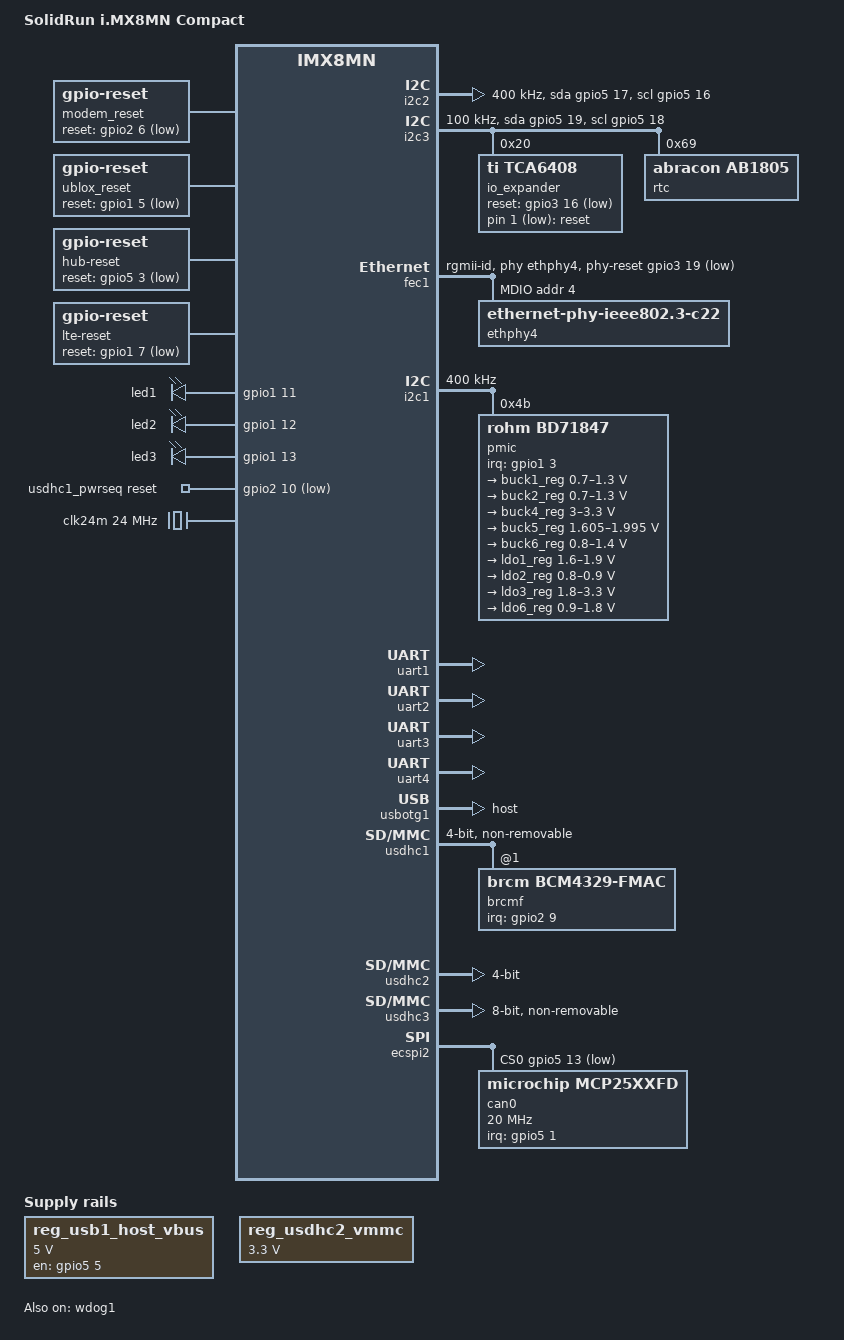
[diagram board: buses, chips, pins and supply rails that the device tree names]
// SPDX-License-Identifier: (GPL-2.0+ OR MIT)
/*
 * Copyright 2019 NXP
 */

/dts-v1/;

#include <dt-bindings/usb/pd.h>
#include <dt-bindings/input/input.h>
#include "imx8mn.dtsi"

/ {
	model = "SolidRun i.MX8MN Compact";
	compatible = "fsl,imx8mn-solidrun", "fsl,imx8mn";

	chosen {
		stdout-path = &uart2;
	};

        modem_reset: modem-reset {
                compatible = "gpio-reset";
                reset-gpios = <&gpio2 6 GPIO_ACTIVE_LOW>;
                reset-delay-us = <2000>;
                reset-post-delay-ms = <40>;
                #reset-cells = <0>;
        };
	
	ublox_reset: ublox-reset {
                compatible = "gpio-reset";
                reset-gpios = <&gpio1 5 GPIO_ACTIVE_LOW>;
                reset-delay-us = <2000>;
                reset-post-delay-ms = <40>;
                #reset-cells = <0>;
	};

	hub-reset {
		compatible = "gpio-reset";
                reset-gpios = <&gpio5 3 GPIO_ACTIVE_LOW>;
                reset-delay-us = <2000>;
                reset-post-delay-ms = <40>;
                #reset-cells = <0>;
	};

	lte-reset {
		compatible = "gpio-reset";
                reset-gpios = <&gpio1 7 GPIO_ACTIVE_LOW>;
                reset-delay-us = <2000>;
                reset-post-delay-ms = <40>;
                #reset-cells = <0>;
	};



	leds {
		/*
	        LED1 -> GPIO1_IO11
	        LED2 -> GPIO1_IO12
	        LED3 -> GPIO1_IO13
		*/
                compatible = "gpio-leds";
                pinctrl-names = "default";

		led1 {
			lable = "led1";
		        gpios = <&gpio1 11 GPIO_ACTIVE_HIGH>;
		        default-state = "off";
		};
		led2 {
			lable = "led2";
		        gpios = <&gpio1 12 GPIO_ACTIVE_HIGH>;
		        default-state = "off";
		};
		led3 {
			lable = "led3";
		        gpios = <&gpio1 13 GPIO_ACTIVE_HIGH>;
		        default-state = "off";
		};

        };

        reg_usb1_host_vbus: regulator-usb1-vbus {
                compatible = "regulator-fixed";
                regulator-name = "usb1_host_vbus";
                pinctrl-names = "default";
                pinctrl-0 = <&pinctrl_usb1_vbus>;
                regulator-min-microvolt = <5000000>;
                regulator-max-microvolt = <5000000>;
                gpio = <&gpio5 5 GPIO_ACTIVE_HIGH>;
                enable-active-high;
                regulator-always-on;
        };

	usdhc1_pwrseq: usdhc1_pwrseq {
		compatible = "mmc-pwrseq-simple";
		pinctrl-names = "default";
		pinctrl-0 = <&pinctrl_usdhc1_gpio>;
		reset-gpios = <&gpio2 10 GPIO_ACTIVE_LOW>;
	};

	reg_usdhc2_vmmc: regulator-usdhc2 {
		compatible = "regulator-fixed";
		pinctrl-names = "default";
		//pinctrl-0 = <&pinctrl_reg_usdhc2_vmmc>;
		regulator-name = "VSD_3V3";
		regulator-min-microvolt = <3300000>;
		regulator-max-microvolt = <3300000>;
		//gpio = <&gpio2 19 GPIO_ACTIVE_HIGH>;
		off-on-delay-us = <12000>;
		enable-active-high;
	};

	/*poll IO Expander and reboot in case of power loss*/
	gpio_keys_polled {
			compatible = "gpio-keys-polled";
			#address-cells = <1>;
	                #size-cells = <0>;
			poll-interval = <1000>; /*1 sec*/
			autorepeat; /*for cases when key was triggered before daemon was started*/
			button@0 {
				label = "reset";
				linux,code = <KEY_RESTART>;
				gpios = <&io_expander 1 GPIO_ACTIVE_LOW>;
	       	                debounce-interval = <100>;
			};
	};


      clocks {
               clk24m: clk24m {
                       compatible = "fixed-clock";
                       #clock-cells = <0>;
                       clock-frequency = <24000000>;
               };
       };

};

&iomuxc {
	pinctrl-names = "default";
	pinctrl-0 = <&pinctrl_hog>;
	
	pinctrl_fec1: fec1grp {
		fsl,pins = <
			MX8MN_IOMUXC_ENET_MDC_ENET1_MDC		0x3
			MX8MN_IOMUXC_ENET_MDIO_ENET1_MDIO	0x3
			MX8MN_IOMUXC_ENET_TD3_ENET1_RGMII_TD3	0x1f
			MX8MN_IOMUXC_ENET_TD2_ENET1_RGMII_TD2	0x1f
			MX8MN_IOMUXC_ENET_TD1_ENET1_RGMII_TD1	0x1f
			MX8MN_IOMUXC_ENET_TD0_ENET1_RGMII_TD0	0x1f
			MX8MN_IOMUXC_ENET_RD3_ENET1_RGMII_RD3	0x91
			MX8MN_IOMUXC_ENET_RD2_ENET1_RGMII_RD2	0x91
			MX8MN_IOMUXC_ENET_RD1_ENET1_RGMII_RD1	0x191 /*PHY-Address1 */
			MX8MN_IOMUXC_ENET_RD0_ENET1_RGMII_RD0	0x191 /*PHY-Address0 */
			MX8MN_IOMUXC_ENET_TXC_ENET1_RGMII_TXC	0x1f
			MX8MN_IOMUXC_ENET_RXC_ENET1_RGMII_RXC	0x91
			MX8MN_IOMUXC_ENET_RX_CTL_ENET1_RGMII_RX_CTL	0x91
			MX8MN_IOMUXC_ENET_TX_CTL_ENET1_RGMII_TX_CTL	0x1f
			MX8MN_IOMUXC_SAI5_RXFS_GPIO3_IO19      0x19 /*PHY RESET */
		>;
	};

	pinctrl_hog: hoggrp {
		fsl,pins = <
			/* GPIO1_IO06 U-BLOX ENABLE - SET PULLUP */
			MX8MN_IOMUXC_GPIO1_IO06_GPIO1_IO6         0x141
			/* CELL_VBUS_CTRL - POWER TO LTE - PULLUP */
			MX8MN_IOMUXC_SPDIF_RX_GPIO5_IO4		  0x141
			/* RF_PWR  - ENABLE LTE POWER - PULLUP*/
			MX8MN_IOMUXC_SAI5_MCLK_GPIO3_IO25  	  0x141
			/* LTE PWRKEY - PULL DOWN*/
			MX8MN_IOMUXC_GPIO1_IO08_GPIO1_IO8	  0x101
		>;
	};

	pinctrl_flexspi0: flexspi0grp {
		fsl,pins = <
			MX8MN_IOMUXC_NAND_ALE_QSPI_A_SCLK 0x1c4
			MX8MN_IOMUXC_NAND_CE0_B_QSPI_A_SS0_B 0x84
			MX8MN_IOMUXC_NAND_DATA00_QSPI_A_DATA0 0x84
			MX8MN_IOMUXC_NAND_DATA01_QSPI_A_DATA1 0x84
			MX8MN_IOMUXC_NAND_DATA02_QSPI_A_DATA2 0x84
			MX8MN_IOMUXC_NAND_DATA03_QSPI_A_DATA3 0x84
		>;
	};

	pinctrl_ecspi2: ecspi2grp {
                fsl,pins = <
                       MX8MN_IOMUXC_ECSPI2_SCLK_ECSPI2_SCLK            0x82
                       MX8MN_IOMUXC_ECSPI2_MOSI_ECSPI2_MOSI            0x82
                       MX8MN_IOMUXC_ECSPI2_MISO_ECSPI2_MISO            0x82
                >;
        };

        pinctrl_ecspi2_cs: ecspi2cs {
                fsl,pins = <
                      MX8MN_IOMUXC_ECSPI2_SS0_GPIO5_IO13              0x40000
                >;
        };


	pinctrl_mipi_dsi_en: mipi_dsi_en {
		fsl,pins = <
			MX8MN_IOMUXC_GPIO1_IO08_GPIO1_IO8		0x16
		>;
	};

	pinctrl_i2c1: i2c1grp {
		fsl,pins = <
			MX8MN_IOMUXC_I2C1_SCL_I2C1_SCL		0x400001c3
			MX8MN_IOMUXC_I2C1_SDA_I2C1_SDA		0x400001c3
		>;
	};

	pinctrl_pmic: pmicirq {
		fsl,pins = <
			MX8MN_IOMUXC_GPIO1_IO03_GPIO1_IO3	0x41
		>;
	};

	pinctrl_gpio_wlf: gpiowlfgrp {
		fsl,pins = <
			MX8MN_IOMUXC_I2C4_SDA_GPIO5_IO21	0xd6
		>;
	};

	pinctrl_i2c2: i2c2grp {
		fsl,pins = <
			MX8MN_IOMUXC_I2C2_SCL_I2C2_SCL			0x400001c3
			MX8MN_IOMUXC_I2C2_SDA_I2C2_SDA			0x400001c3
		>;
	};

	pinctrl_i2c3: i2c3grp {
		fsl,pins = <
			MX8MN_IOMUXC_I2C3_SCL_I2C3_SCL			0x400001c3
			MX8MN_IOMUXC_I2C3_SDA_I2C3_SDA			0x400001c3
		>;
	};

	pinctrl_i2c2_gpio: i2c2grp-gpio {
		fsl,pins = <
			MX8MN_IOMUXC_I2C2_SCL_GPIO5_IO16		0x1c3
			MX8MN_IOMUXC_I2C2_SDA_GPIO5_IO17		0x1c3
		>;
	};

	pinctrl_i2c3_gpio: i2c3grp-gpio {
		fsl,pins = <
			MX8MN_IOMUXC_I2C3_SCL_GPIO5_IO18		0x1c3
			MX8MN_IOMUXC_I2C3_SDA_GPIO5_IO19		0x1c3
		>;
	};

        pinctrl_io_expander: i2c3-io-expander {
                fsl,pins = <
                        MX8MN_IOMUXC_SD1_STROBE_GPIO2_IO11              0x1d1 /* iomux interrupt */
                        MX8MN_IOMUXC_NAND_READY_B_GPIO3_IO16            0x191 /* iomux reset */
                >;
        };


	pinctrl_i2c2_synaptics_dsx_io: synaptics_dsx_iogrp {
		fsl,pins = <
			MX8MN_IOMUXC_GPIO1_IO09_GPIO1_IO9		0x19
		>;
	};

	pinctrl_pdm: pdmgrp {
		fsl,pins = <
			MX8MN_IOMUXC_SAI5_MCLK_SAI5_MCLK	0xd6
			MX8MN_IOMUXC_SAI5_RXC_PDM_CLK		0xd6
			MX8MN_IOMUXC_SAI5_RXFS_SAI5_RX_SYNC	0xd6
			MX8MN_IOMUXC_SAI5_RXD0_PDM_BIT_STREAM0	0xd6
			MX8MN_IOMUXC_SAI5_RXD1_PDM_BIT_STREAM1	0xd6
			MX8MN_IOMUXC_SAI5_RXD2_PDM_BIT_STREAM2	0xd6
			MX8MN_IOMUXC_SAI5_RXD3_PDM_BIT_STREAM3	0xd6
		>;
	};

	pinctrl_sai3: sai3grp {
		fsl,pins = <
			MX8MN_IOMUXC_SAI3_TXFS_SAI3_TX_SYNC     0xd6
			MX8MN_IOMUXC_SAI3_TXC_SAI3_TX_BCLK      0xd6
			MX8MN_IOMUXC_SAI3_MCLK_SAI3_MCLK        0xd6
			MX8MN_IOMUXC_SAI3_TXD_SAI3_TX_DATA0     0xd6
		>;
	};

	pinctrl_sai5: sai5grp {
		fsl,pins = <
			MX8MN_IOMUXC_SAI5_MCLK_SAI5_MCLK	0xd6
			MX8MN_IOMUXC_SAI5_RXC_SAI5_RX_BCLK	0xd6
			MX8MN_IOMUXC_SAI5_RXFS_SAI5_RX_SYNC	0xd6
			MX8MN_IOMUXC_SAI5_RXD0_SAI5_RX_DATA0	0xd6
			MX8MN_IOMUXC_SAI5_RXD1_SAI5_RX_DATA1    0xd6
			MX8MN_IOMUXC_SAI5_RXD2_SAI5_RX_DATA2    0xd6
			MX8MN_IOMUXC_SAI5_RXD3_SAI5_RX_DATA3    0xd6
		>;
	};

	pinctrl_typec1: typec1grp {
		fsl,pins = <
			MX8MN_IOMUXC_SD1_STROBE_GPIO2_IO11	0x159
		>;
	};

	pinctrl_reg_usdhc2_vmmc: regusdhc2vmmc {
		fsl,pins = <
			MX8MN_IOMUXC_SD2_RESET_B_GPIO2_IO19	0x41
		>;
	};

	pinctrl_uart1: uart1grp {
		fsl,pins = <
			MX8MN_IOMUXC_UART1_RXD_UART1_DCE_RX	0x140
			MX8MN_IOMUXC_UART1_TXD_UART1_DCE_TX	0x140
			MX8MN_IOMUXC_UART3_RXD_UART1_DCE_CTS_B	0x140
			MX8MN_IOMUXC_UART3_TXD_UART1_DCE_RTS_B	0x140
			MX8MN_IOMUXC_SD1_DATA4_GPIO2_IO6	0x19
		>;
	};

	pinctrl_uart2: uart2grp {
		fsl,pins = <
			MX8MN_IOMUXC_UART2_RXD_UART2_DCE_RX	0x140
			MX8MN_IOMUXC_UART2_TXD_UART2_DCE_TX	0x140
		>;
	};

        pinctrl_uart3: uart3grp {
                fsl,pins = <
                        MX8MN_IOMUXC_ECSPI1_MOSI_UART3_DTE_RX           0x140
                        MX8MN_IOMUXC_ECSPI1_SCLK_UART3_DTE_TX          0x140
                        MX8MN_IOMUXC_ECSPI1_MISO_UART3_DTE_RTS_B       0x140
                        MX8MN_IOMUXC_ECSPI1_SS0_UART3_DTE_CTS_B        0x140
                >;
        };

        pinctrl_uart4: uart4grp {
                fsl,pins = <
                        MX8MN_IOMUXC_UART4_RXD_UART4_DCE_RX             0x140
                        MX8MN_IOMUXC_UART4_TXD_UART4_DCE_TX             0x140
                >;
        };

	pinctrl_usdhc1_gpio: usdhc1grpgpio {
		fsl,pins = <
			MX8MN_IOMUXC_SD1_RESET_B_GPIO2_IO10	0x41
		>;
	};

	pinctrl_usdhc1: usdhc1grp {
		fsl,pins = <
			MX8MN_IOMUXC_SD1_CLK_USDHC1_CLK		0x190
			MX8MN_IOMUXC_SD1_CMD_USDHC1_CMD		0x1d0
			MX8MN_IOMUXC_SD1_DATA0_USDHC1_DATA0	0x1d0
			MX8MN_IOMUXC_SD1_DATA1_USDHC1_DATA1	0x1d0
			MX8MN_IOMUXC_SD1_DATA2_USDHC1_DATA2	0x1d0
			MX8MN_IOMUXC_SD1_DATA3_USDHC1_DATA3	0x1d0
		>;
	};

	pinctrl_usdhc1_100mhz: usdhc1grp100mhz {
		fsl,pins = <
			MX8MN_IOMUXC_SD1_CLK_USDHC1_CLK		0x180
			MX8MN_IOMUXC_SD1_CMD_USDHC1_CMD		0x1d4
			MX8MN_IOMUXC_SD1_DATA0_USDHC1_DATA0	0x1d4
			MX8MN_IOMUXC_SD1_DATA1_USDHC1_DATA1	0x1d4
			MX8MN_IOMUXC_SD1_DATA2_USDHC1_DATA2	0x1d4
			MX8MN_IOMUXC_SD1_DATA3_USDHC1_DATA3	0x1d4
		>;
	};

	pinctrl_usdhc1_200mhz: usdhc1grp200mhz {
		fsl,pins = <
			MX8MN_IOMUXC_SD1_CLK_USDHC1_CLK		0x180
			MX8MN_IOMUXC_SD1_CMD_USDHC1_CMD		0x1d0
			MX8MN_IOMUXC_SD1_DATA0_USDHC1_DATA0	0x1d0
			MX8MN_IOMUXC_SD1_DATA1_USDHC1_DATA1	0x1d0
			MX8MN_IOMUXC_SD1_DATA2_USDHC1_DATA2	0x1d0
			MX8MN_IOMUXC_SD1_DATA3_USDHC1_DATA3	0x1d0
		>;
	};


	pinctrl_usdhc2: usdhc2grp {
		fsl,pins = <
			MX8MN_IOMUXC_SD2_CLK_USDHC2_CLK		0x190
			MX8MN_IOMUXC_SD2_CMD_USDHC2_CMD		0x1d0
			MX8MN_IOMUXC_SD2_DATA0_USDHC2_DATA0	0x1d0
			MX8MN_IOMUXC_SD2_DATA1_USDHC2_DATA1	0x1d0
			MX8MN_IOMUXC_SD2_DATA2_USDHC2_DATA2	0x1d0
			MX8MN_IOMUXC_SD2_DATA3_USDHC2_DATA3	0x1d0
			MX8MN_IOMUXC_GPIO1_IO04_USDHC2_VSELECT	0x1d0
		>;
	};

	pinctrl_usdhc2_100mhz: usdhc2grp100mhz {
		fsl,pins = <
			MX8MN_IOMUXC_SD2_CLK_USDHC2_CLK		0x194
			MX8MN_IOMUXC_SD2_CMD_USDHC2_CMD		0x1d4
			MX8MN_IOMUXC_SD2_DATA0_USDHC2_DATA0	0x1d4
			MX8MN_IOMUXC_SD2_DATA1_USDHC2_DATA1	0x1d4
			MX8MN_IOMUXC_SD2_DATA2_USDHC2_DATA2	0x1d4
			MX8MN_IOMUXC_SD2_DATA3_USDHC2_DATA3	0x1d4
			MX8MN_IOMUXC_GPIO1_IO04_USDHC2_VSELECT	0x1d0
		>;
	};

	pinctrl_usdhc2_200mhz: usdhc2grp200mhz {
		fsl,pins = <
			MX8MN_IOMUXC_SD2_CLK_USDHC2_CLK		0x196
			MX8MN_IOMUXC_SD2_CMD_USDHC2_CMD		0x1d6
			MX8MN_IOMUXC_SD2_DATA0_USDHC2_DATA0	0x1d6
			MX8MN_IOMUXC_SD2_DATA1_USDHC2_DATA1	0x1d6
			MX8MN_IOMUXC_SD2_DATA2_USDHC2_DATA2	0x1d6
			MX8MN_IOMUXC_SD2_DATA3_USDHC2_DATA3	0x1d6
			MX8MN_IOMUXC_GPIO1_IO04_USDHC2_VSELECT	0x1d0
		>;
	};

	pinctrl_usdhc3: usdhc3grp {
		fsl,pins = <
			MX8MN_IOMUXC_NAND_WE_B_USDHC3_CLK		0x40000190
			MX8MN_IOMUXC_NAND_WP_B_USDHC3_CMD		0x1d0
			MX8MN_IOMUXC_NAND_DATA04_USDHC3_DATA0		0x1d0
			MX8MN_IOMUXC_NAND_DATA05_USDHC3_DATA1		0x1d0
			MX8MN_IOMUXC_NAND_DATA06_USDHC3_DATA2		0x1d0
			MX8MN_IOMUXC_NAND_DATA07_USDHC3_DATA3		0x1d0
			MX8MN_IOMUXC_NAND_RE_B_USDHC3_DATA4		0x1d0
			MX8MN_IOMUXC_NAND_CE2_B_USDHC3_DATA5		0x1d0
			MX8MN_IOMUXC_NAND_CE3_B_USDHC3_DATA6		0x1d0
			MX8MN_IOMUXC_NAND_CLE_USDHC3_DATA7		0x1d0
			MX8MN_IOMUXC_NAND_CE1_B_USDHC3_STROBE		0x190
		>;
	};

	pinctrl_usdhc3_100mhz: usdhc3grp100mhz {
		fsl,pins = <
			MX8MN_IOMUXC_NAND_WE_B_USDHC3_CLK		0x40000194
			MX8MN_IOMUXC_NAND_WP_B_USDHC3_CMD		0x1d4
			MX8MN_IOMUXC_NAND_DATA04_USDHC3_DATA0		0x1d4
			MX8MN_IOMUXC_NAND_DATA05_USDHC3_DATA1		0x1d4
			MX8MN_IOMUXC_NAND_DATA06_USDHC3_DATA2		0x1d4
			MX8MN_IOMUXC_NAND_DATA07_USDHC3_DATA3		0x1d4
			MX8MN_IOMUXC_NAND_RE_B_USDHC3_DATA4		0x1d4
			MX8MN_IOMUXC_NAND_CE2_B_USDHC3_DATA5		0x1d4
			MX8MN_IOMUXC_NAND_CE3_B_USDHC3_DATA6		0x1d4
			MX8MN_IOMUXC_NAND_CLE_USDHC3_DATA7		0x1d4
			MX8MN_IOMUXC_NAND_CE1_B_USDHC3_STROBE		0x194
		>;
	};

	pinctrl_usdhc3_200mhz: usdhc3grp200mhz {
		fsl,pins = <
			MX8MN_IOMUXC_NAND_WE_B_USDHC3_CLK		0x40000196
			MX8MN_IOMUXC_NAND_WP_B_USDHC3_CMD		0x1d6
			MX8MN_IOMUXC_NAND_DATA04_USDHC3_DATA0		0x1d6
			MX8MN_IOMUXC_NAND_DATA05_USDHC3_DATA1		0x1d6
			MX8MN_IOMUXC_NAND_DATA06_USDHC3_DATA2		0x1d6
			MX8MN_IOMUXC_NAND_DATA07_USDHC3_DATA3		0x1d6
			MX8MN_IOMUXC_NAND_RE_B_USDHC3_DATA4		0x1d6
			MX8MN_IOMUXC_NAND_CE2_B_USDHC3_DATA5		0x1d6
			MX8MN_IOMUXC_NAND_CE3_B_USDHC3_DATA6		0x1d6
			MX8MN_IOMUXC_NAND_CLE_USDHC3_DATA7		0x1d6
			MX8MN_IOMUXC_NAND_CE1_B_USDHC3_STROBE		0x196
		>;
	};

	pinctrl_wdog: wdoggrp {
		fsl,pins = <
			MX8MN_IOMUXC_GPIO1_IO02_WDOG1_WDOG_B		0xc6
		>;
	};

	pinctrl_wlan: wlangrp {
		fsl,pins = <
			MX8MN_IOMUXC_GPIO1_IO00_ANAMIX_REF_CLK_32K	0x141
			MX8MN_IOMUXC_SD1_DATA7_GPIO2_IO9		0x111
		>;
	};

	pinctrl_csi_pwn: csi_pwn_grp {
		fsl,pins = <
			MX8MN_IOMUXC_GPIO1_IO07_GPIO1_IO7		0x19
		>;
	};

	pinctrl_usb1_vbus: usb1grp {
                fsl,pins = <
			MX8MN_IOMUXC_SPDIF_EXT_CLK_GPIO5_IO5     0x19 /* USB_HUB_PWR_EN */       
		>;
        };

	pinctrl_gpio_led: gpioledgrp {
                fsl,pins = <
			MX8MN_IOMUXC_GPIO1_IO11_GPIO1_IO11    0x19
			MX8MN_IOMUXC_GPIO1_IO12_GPIO1_IO12    0x19
			MX8MN_IOMUXC_GPIO1_IO13_GPIO1_IO13    0x19
                >;
        };

};

&i2c2 {
	clock-frequency = <400000>;
	pinctrl-names = "default", "gpio";
	pinctrl-0 = <&pinctrl_i2c2>;
	pinctrl-1 = <&pinctrl_i2c2_gpio>;
	scl-gpios = <&gpio5 16 GPIO_ACTIVE_HIGH>;
	sda-gpios = <&gpio5 17 GPIO_ACTIVE_HIGH>;
	status = "okay";
};

&i2c3 {
	clock-frequency = <100000>;
	pinctrl-names = "default", "gpio";
	pinctrl-0 = <&pinctrl_i2c3>;
	pinctrl-1 = <&pinctrl_i2c3_gpio>;
	scl-gpios = <&gpio5 18 GPIO_ACTIVE_HIGH>;
	sda-gpios = <&gpio5 19 GPIO_ACTIVE_HIGH>;
	status = "okay";

        io_expander: gpio-controller@20 {
		/*ignore interrupts - using polling method (gpio-keys-polled)*/
                compatible = "ti,tca6408";
                reg = <0x20>;
                pinctrl-names = "default";
                pinctrl-0 = <&pinctrl_io_expander>;
		//interrupt-controller;
		//#interrupt-cells = <2>;
                reset-gpios = <&gpio3 16 GPIO_ACTIVE_LOW>;
                gpio-controller;
                #gpio-cells = <2>;
		//interrupt-parent = <&gpio2>;
		//interrupts = <11 IRQ_TYPE_EDGE_FALLING>;
        };

	rtc@69 {
		compatible = "abracon,ab1805";
		reg = <0x69>;
		abracon,tc-diode = "schottky";
		abracon,tc-resistor = <3>;
	};

};

&fec1 {
	pinctrl-names = "default";
	pinctrl-0 = <&pinctrl_fec1>;
	phy-mode = "rgmii-id";
	phy-handle = <&ethphy4>;
	phy-reset-gpios = <&gpio3 19 GPIO_ACTIVE_LOW>;
	fsl,magic-packet;
	status = "okay";

	mdio {
		#address-cells = <1>;
		#size-cells = <0>;

		ethphy4: ethernet-phy@4 {
			compatible = "ethernet-phy-ieee802.3-c22";
			reg = <4>;
			at803x,led-act-blind-workaround;
			at803x,eee-disabled;
			//at803x,vddio-1p8v;
		};
	};
};

&i2c1 {
	clock-frequency = <400000>;
	pinctrl-names = "default";
	pinctrl-0 = <&pinctrl_i2c1>;
	status = "okay";

	pmic@4b {
		compatible = "rohm,bd71847";
		reg = <0x4b>;
		pinctrl-0 = <&pinctrl_pmic>;
		interrupt-parent = <&gpio1>;
		interrupts = <3 GPIO_ACTIVE_LOW>;
		rohm,reset-snvs-powered;

		regulators {
			buck1_reg: BUCK1 {
				regulator-name = "BUCK1";
				regulator-min-microvolt = <700000>;
				regulator-max-microvolt = <1300000>;
				regulator-boot-on;
				regulator-always-on;
				regulator-ramp-delay = <1250>;
			};

			buck2_reg: BUCK2 {
				regulator-name = "BUCK2";
				regulator-min-microvolt = <700000>;
				regulator-max-microvolt = <1300000>;
				regulator-boot-on;
				regulator-always-on;
				regulator-ramp-delay = <1250>;
				rohm,dvs-run-voltage = <1000000>;
				rohm,dvs-idle-voltage = <900000>;
			};

			buck4_reg: BUCK4 {
				// BUCK6 in datasheet
				regulator-name = "BUCK4";
				regulator-min-microvolt = <3000000>;
				regulator-max-microvolt = <3300000>;
				regulator-boot-on;
				regulator-always-on;
			};

			buck5_reg: BUCK5 {
				// BUCK7 in datasheet
				regulator-name = "BUCK5";
				regulator-min-microvolt = <1605000>;
				regulator-max-microvolt = <1995000>;
				regulator-boot-on;
				regulator-always-on;
			};

			buck6_reg: BUCK6 {
				// BUCK8 in datasheet
				regulator-name = "BUCK6";
				regulator-min-microvolt = <800000>;
				regulator-max-microvolt = <1400000>;
				regulator-boot-on;
				regulator-always-on;
			};

			ldo1_reg: LDO1 {
				regulator-name = "LDO1";
				regulator-min-microvolt = <1600000>;
				regulator-max-microvolt = <1900000>;
				regulator-boot-on;
				regulator-always-on;
			};

			ldo2_reg: LDO2 {
				regulator-name = "LDO2";
				regulator-min-microvolt = <800000>;
				regulator-max-microvolt = <900000>;
				regulator-boot-on;
				regulator-always-on;
			};

			ldo3_reg: LDO3 {
				regulator-name = "LDO3";
				regulator-min-microvolt = <1800000>;
				regulator-max-microvolt = <3300000>;
				regulator-boot-on;
				regulator-always-on;
			};

			ldo6_reg: LDO6 {
				regulator-name = "LDO6";
				regulator-min-microvolt = <900000>;
				regulator-max-microvolt = <1800000>;
				regulator-boot-on;
				regulator-always-on;
			};
		};
	};
};

&uart1 { /* BT */
        pinctrl-names = "default";
        pinctrl-0 = <&pinctrl_uart1>;
        assigned-clocks = <&clk IMX8MN_CLK_UART1>;
        assigned-clock-parents = <&clk IMX8MN_SYS_PLL1_80M>;
        fsl,uart-has-rtscts;
        resets = <&modem_reset>;
        status = "okay";
};

&uart2 { /* console */
	pinctrl-names = "default";
	pinctrl-0 = <&pinctrl_uart2>;
	status = "okay";
};

&uart3 { /* RS485 */
	pinctrl-names = "default";
	pinctrl-0 = <&pinctrl_uart3>;
	assigned-clocks = <&clk IMX8MN_CLK_UART3>;
	assigned-clock-parents = <&clk IMX8MN_SYS_PLL1_80M>;
	fsl,uart-has-rtscts;
	fsl,dte-mode;
	status = "okay";
};

&uart4 { /* U-BLOX Nina B1 */
        pinctrl-names = "default";
	pinctrl-0 = <&pinctrl_uart4>;
	assigned-clocks = <&clk IMX8MN_CLK_UART4>;
	assigned-clock-parents = <&clk IMX8MN_SYS_PLL1_80M>;
	/delete-property/ dmas;
        /delete-property/ dmas-names;
	resets = <&ublox_reset>;
        status = "okay";
};

&usbotg1 {
	status = "okay";
	dr_mode = "host";
};

&usdhc1 { /* WIFI */
        #address-cells = <1>;
        #size-cells = <0>;
        pinctrl-names = "default", "state_100mhz", "state_200mhz";
        pinctrl-0 = <&pinctrl_usdhc1>, <&pinctrl_wlan>;
        pinctrl-1 = <&pinctrl_usdhc1_100mhz>, <&pinctrl_wlan>;
        pinctrl-2 = <&pinctrl_usdhc1_200mhz>, <&pinctrl_wlan>;
        bus-width = <4>;
        pm-ignore-notify;
        keep-power-in-suspend;
        non-removable;
        cap-power-off-card;
        /delete-property/ vmmc-supply;
        mmc-pwrseq = <&usdhc1_pwrseq>;
        status = "okay";

        brcmf: bcrmf@1 {
                reg = <1>;
                compatible = "brcm,bcm4329-fmac";
                interrupt-parent = <&gpio2>;
                interrupts = <9 IRQ_TYPE_LEVEL_HIGH>;
                interrupt-names = "host-wake";
        };
};

&usdhc2 {
	pinctrl-names = "default", "state_100mhz", "state_200mhz";
	pinctrl-0 = <&pinctrl_usdhc2>;
	pinctrl-1 = <&pinctrl_usdhc2_100mhz>;
	pinctrl-2 = <&pinctrl_usdhc2_200mhz>;
	//cd-gpios = <&gpio1 15 GPIO_ACTIVE_LOW>;
	bus-width = <4>;
	//vmmc-supply = <&reg_usdhc2_vmmc>;
	status = "okay";
};

&usdhc3 {
	pinctrl-names = "default", "state_100mhz", "state_200mhz";
	pinctrl-0 = <&pinctrl_usdhc3>;
	pinctrl-1 = <&pinctrl_usdhc3_100mhz>;
	pinctrl-2 = <&pinctrl_usdhc3_200mhz>;
	bus-width = <8>;
	non-removable;
	status = "okay";
};

&wdog1 {
	pinctrl-names = "default";
	pinctrl-0 = <&pinctrl_wdog>;
	fsl,ext-reset-output;
	status = "okay";
};

&ecspi2 {
        pinctrl-names = "default";
        pinctrl-0 = <&pinctrl_ecspi2>;
	fsl,spi-num-chipselects = <1>;
        cs-gpios = <&gpio5 13 GPIO_ACTIVE_LOW>; //GPIO5_IO13
        status = "okay";
	#address-cells = <1>;
	#size-cells = <0>;
	
        can0: can@0 {
		clocks = <&clk24m>;
                compatible = "microchip,mcp25xxfd";
                pinctrl-names = "default";
                reg = <0>;
		spi-max-frequency = <20000000>;
		interrupt-parent = <&gpio5>;
                interrupts = <1 IRQ_TYPE_EDGE_FALLING>;
        };

};


